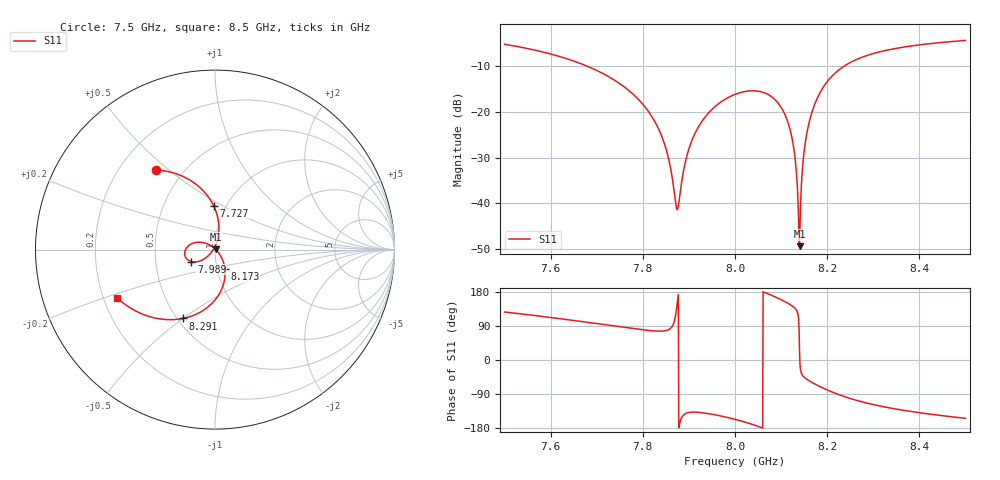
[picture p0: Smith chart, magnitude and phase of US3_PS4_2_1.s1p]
! Touchstone file exported from HFSS 2025.1.0
!  File:  C:/Users/user/Documents/Ansoft/TFG_UWB-MIMO-Array.aedt
!  Generated:  08:07:09 PM Nov 16, 2026
!  Design:  US3_PS4_2_1
!  Project:  TFG_UWB-MIMO-Array
!  Setup:  Setup_ch9
!  Solution:  Sweep_7p5_8p5
! Variables:
!  board_x = 26mm
!  board_y = 26mm
!  cu_t = 0.035mm
!  line_w = 3.92mm
!  pad_xy = 22mm
!  pad_zn = 25mm
!  pad_zp = 33mm
!  par_L = 7.46mm
!  par_W = 10mm
!  par_yc = 0.75mm
!  par_z = 1.035mm
!  patch_L = 6.222mm
!  patch_W = 11.421266mm
!  sub_h = 2.07mm
!  tr_l = 6.6mm
!  tr_w = 0.8mm
!  u_Lu = 2.65mm
!  u_Wu = 4.4mm
!  u_t = 0.8mm
!  u_y0 = -0.7mm
# GHz S MA R 50.000000
! Terminal data exported
! Port[1] = P1
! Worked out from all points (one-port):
!   1001 points, 7.5 GHz to 8.5 GHz, reference 50 ohm
!   lowest |S11| = -49.4 dB at 8.14 GHz (marker M1), VSWR 1.01, Z = 50.3 + j0.145 ohm
!   |S11| at or under -10 dB: 7.68 GHz to 8.236 GHz (555.8 MHz wide, 6.98 % of centre)
!   S11 on the Smith chart (normalised r, x): 7.5 GHz: 0.35, +0.45; 7.727 GHz: 0.88, +0.45; 7.989 GHz: 0.76, -0.10; 8.173 GHz: 1.09, -0.24; 8.291 GHz: 0.53, -0.50; 8.5 GHz: 0.26, -0.22
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7.5  0.5526 126.6
7.625  0.3979 108.3
7.727  0.2421 91.6
7.75  0.2045 87.7
7.799  0.1233 79.8
7.833  0.06725 76.1
7.854  0.03371 79.0
7.875  0.00853 153.9
7.895  0.0323 -140.1
7.914  0.05947 -137.5
7.946  0.1019 -142.3
7.989  0.1475 -153.2
8  0.1561 -156.6
8.082  0.1437 169.4
8.108  0.09461 154.2
8.125  0.048 141.8
8.131  0.02918 135.6
8.136  0.01287 124.4
8.14  0.003392 25.2
8.143  0.01212 -30.7
8.148  0.0297 -42.9
8.153  0.04781 -48.4
8.173  0.1214 -63.1
8.204  0.2275 -81.1
8.25  0.3483 -101.5
8.291  0.4234 -115.0
8.375  0.5228 -134.5
8.5  0.6085 -153.9
